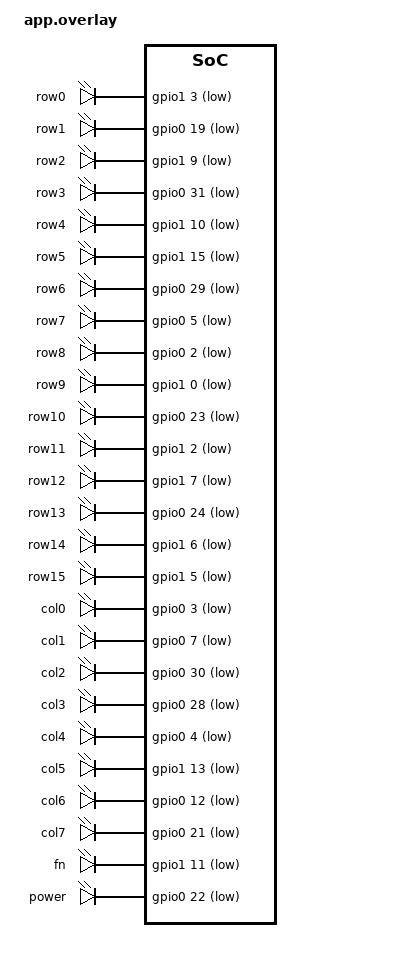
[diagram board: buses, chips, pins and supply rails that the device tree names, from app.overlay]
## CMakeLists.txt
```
# SPDX-License-Identifier: MIT
cmake_minimum_required(VERSION 3.20.0)
find_package(Zephyr REQUIRED HINTS $ENV{ZEPHYR_BASE})
project(t430_reva_factory_test)
target_sources(app PRIVATE src/main.c)
```

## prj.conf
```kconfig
CONFIG_GPIO=y
CONFIG_SERIAL=y
CONFIG_CONSOLE=y
CONFIG_UART_CONSOLE=y
CONFIG_USB_DEVICE_STACK=y
CONFIG_USB_CDC_ACM=y
CONFIG_UART_LINE_CTRL=y
CONFIG_REBOOT=y
CONFIG_NRF_STORE_REBOOT_TYPE_GPREGRET=y
CONFIG_LOG=n
CONFIG_MAIN_STACK_SIZE=2048
```

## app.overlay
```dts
#include <zephyr/dt-bindings/gpio/gpio.h>

/ {
    factory_rows: factory_rows {
        compatible = "gpio-leds";
        row0 { gpios = <&gpio1 3 (GPIO_ACTIVE_LOW | GPIO_OPEN_DRAIN)>; };
        row1 { gpios = <&gpio0 19 (GPIO_ACTIVE_LOW | GPIO_OPEN_DRAIN)>; };
        row2 { gpios = <&gpio1 9 (GPIO_ACTIVE_LOW | GPIO_OPEN_DRAIN)>; };
        row3 { gpios = <&gpio0 31 (GPIO_ACTIVE_LOW | GPIO_OPEN_DRAIN)>; };
        row4 { gpios = <&gpio1 10 (GPIO_ACTIVE_LOW | GPIO_OPEN_DRAIN)>; };
        row5 { gpios = <&gpio1 15 (GPIO_ACTIVE_LOW | GPIO_OPEN_DRAIN)>; };
        row6 { gpios = <&gpio0 29 (GPIO_ACTIVE_LOW | GPIO_OPEN_DRAIN)>; };
        row7 { gpios = <&gpio0 5 (GPIO_ACTIVE_LOW | GPIO_OPEN_DRAIN)>; };
        row8 { gpios = <&gpio0 2 (GPIO_ACTIVE_LOW | GPIO_OPEN_DRAIN)>; };
        row9 { gpios = <&gpio1 0 (GPIO_ACTIVE_LOW | GPIO_OPEN_DRAIN)>; };
        row10 { gpios = <&gpio0 23 (GPIO_ACTIVE_LOW | GPIO_OPEN_DRAIN)>; };
        row11 { gpios = <&gpio1 2 (GPIO_ACTIVE_LOW | GPIO_OPEN_DRAIN)>; };
        row12 { gpios = <&gpio1 7 (GPIO_ACTIVE_LOW | GPIO_OPEN_DRAIN)>; };
        row13 { gpios = <&gpio0 24 (GPIO_ACTIVE_LOW | GPIO_OPEN_DRAIN)>; };
        row14 { gpios = <&gpio1 6 (GPIO_ACTIVE_LOW | GPIO_OPEN_DRAIN)>; };
        row15 { gpios = <&gpio1 5 (GPIO_ACTIVE_LOW | GPIO_OPEN_DRAIN)>; };
    };

    factory_cols: factory_cols {
        compatible = "gpio-leds";
        col0 { gpios = <&gpio0 3 (GPIO_ACTIVE_LOW | GPIO_PULL_UP)>; };
        col1 { gpios = <&gpio0 7 (GPIO_ACTIVE_LOW | GPIO_PULL_UP)>; };
        col2 { gpios = <&gpio0 30 (GPIO_ACTIVE_LOW | GPIO_PULL_UP)>; };
        col3 { gpios = <&gpio0 28 (GPIO_ACTIVE_LOW | GPIO_PULL_UP)>; };
        col4 { gpios = <&gpio0 4 (GPIO_ACTIVE_LOW | GPIO_PULL_UP)>; };
        col5 { gpios = <&gpio1 13 (GPIO_ACTIVE_LOW | GPIO_PULL_UP)>; };
        col6 { gpios = <&gpio0 12 (GPIO_ACTIVE_LOW | GPIO_PULL_UP)>; };
        col7 { gpios = <&gpio0 21 (GPIO_ACTIVE_LOW | GPIO_PULL_UP)>; };
    };

    factory_direct: factory_direct {
        compatible = "gpio-leds";
        fn { gpios = <&gpio1 11 (GPIO_ACTIVE_LOW | GPIO_PULL_UP)>; };
        power { gpios = <&gpio0 22 (GPIO_ACTIVE_LOW | GPIO_PULL_UP)>; };
    };
};
```

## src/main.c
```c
/* SPDX-License-Identifier: MIT */

#include <zephyr/device.h>
#include <zephyr/drivers/gpio.h>
#include <zephyr/drivers/uart.h>
#include <zephyr/kernel.h>
#include <zephyr/sys/printk.h>
#include <zephyr/sys/reboot.h>
#include <zephyr/usb/usb_device.h>

#define ROW_COUNT 16
#define COL_COUNT 8
#define DIRECT_COUNT 2
#define DEBOUNCE_SCANS 4
#define UF2_REBOOT_MAGIC 0x57

#define GPIO_SPEC(node_id) GPIO_DT_SPEC_GET(node_id, gpios),
static const struct gpio_dt_spec rows[] = {
    DT_FOREACH_CHILD(DT_NODELABEL(factory_rows), GPIO_SPEC)
};
static const struct gpio_dt_spec cols[] = {
    DT_FOREACH_CHILD(DT_NODELABEL(factory_cols), GPIO_SPEC)
};
static const struct gpio_dt_spec direct[] = {
    DT_FOREACH_CHILD(DT_NODELABEL(factory_direct), GPIO_SPEC)
};

static bool stable[ROW_COUNT * COL_COUNT + DIRECT_COUNT];
static bool candidate[ARRAY_SIZE(stable)];
static uint8_t counts[ARRAY_SIZE(stable)];

static void print_input(size_t index, bool pressed) {
    if (index < ROW_COUNT * COL_COUNT) {
        printk("RAW %s DRV%u SENSE%u\r\n", pressed ? "PRESS" : "RELEASE",
               (unsigned)(index / COL_COUNT), (unsigned)(index % COL_COUNT));
    } else {
        const char *name = index == ROW_COUNT * COL_COUNT ? "FN P1.11" : "POWER P0.22";
        printk("RAW %s DIRECT %s\r\n", pressed ? "PRESS" : "RELEASE", name);
    }
}

static void report_macros(void) {
    static uint8_t reported;
    const bool fn = stable[ROW_COUNT * COL_COUNT];
    const size_t number_positions[] = {0 * COL_COUNT + 1, 1 * COL_COUNT + 1,
                                       2 * COL_COUNT + 1, 3 * COL_COUNT + 1};
    uint8_t now = 0;

    if (fn) {
        for (size_t i = 0; i < ARRAY_SIZE(number_positions); i++) {
            if (stable[number_positions[i]]) {
                now |= BIT(i);
            }
        }
    }

    for (size_t i = 0; i < 4; i++) {
        if ((now & BIT(i)) && !(reported & BIT(i))) {
            printk("MACRO PASS FN+%u (FN P1.11 + DRV%u/SENSE1)\r\n",
                   (unsigned)i + 1U, (unsigned)i);
        }
    }
    reported = now;
}

static void debounce(size_t index, bool value) {
    if (value != candidate[index]) {
        candidate[index] = value;
        counts[index] = 1;
        return;
    }
    if (counts[index] < DEBOUNCE_SCANS) {
        counts[index]++;
    }
    if (counts[index] == DEBOUNCE_SCANS && stable[index] != value) {
        stable[index] = value;
        print_input(index, value);
        report_macros();
    }
}

int main(void) {
    const struct device *cdc = DEVICE_DT_GET(DT_NODELABEL(cdc_acm_uart0));

    BUILD_ASSERT(ARRAY_SIZE(rows) == ROW_COUNT);
    BUILD_ASSERT(ARRAY_SIZE(cols) == COL_COUNT);
    BUILD_ASSERT(ARRAY_SIZE(direct) == DIRECT_COUNT);

    for (size_t i = 0; i < ARRAY_SIZE(rows); i++) {
        gpio_pin_configure_dt(&rows[i], GPIO_OUTPUT_INACTIVE);
    }
    for (size_t i = 0; i < ARRAY_SIZE(cols); i++) {
        gpio_pin_configure_dt(&cols[i], GPIO_INPUT);
    }
    for (size_t i = 0; i < ARRAY_SIZE(direct); i++) {
        gpio_pin_configure_dt(&direct[i], GPIO_INPUT);
    }

    usb_enable(NULL);
    while (!device_is_ready(cdc)) {
        k_sleep(K_MSEC(10));
    }

    printk("T430 REV A RAW FACTORY TEST\r\n");
    printk("No HID or BLE is enabled. Press keys to print raw wiring.\r\n");
    printk("Fn+1/2/3/4 prints MACRO PASS when both contacts are held.\r\n");

    while (true) {
        uint32_t baud_rate;

        if (uart_line_ctrl_get(cdc, UART_LINE_CTRL_BAUD_RATE, &baud_rate) == 0 &&
            baud_rate == 1200U) {
            k_sleep(K_MSEC(100));
            sys_reboot(UF2_REBOOT_MAGIC);
        }

        for (size_t row = 0; row < ARRAY_SIZE(rows); row++) {
            gpio_pin_set_dt(&rows[row], 1);
            k_busy_wait(30);
            for (size_t col = 0; col < ARRAY_SIZE(cols); col++) {
                debounce(row * COL_COUNT + col, gpio_pin_get_dt(&cols[col]) > 0);
            }
            gpio_pin_set_dt(&rows[row], 0);
        }
        for (size_t i = 0; i < ARRAY_SIZE(direct); i++) {
            debounce(ROW_COUNT * COL_COUNT + i, gpio_pin_get_dt(&direct[i]) > 0);
        }
        k_sleep(K_MSEC(1));
    }
    return 0;
}
```
